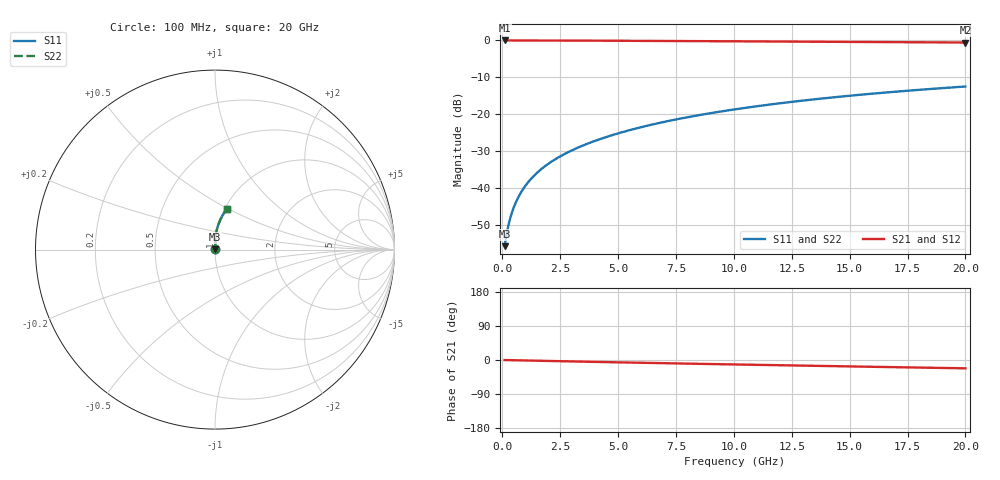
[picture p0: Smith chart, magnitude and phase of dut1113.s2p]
! Touchstone file exported from HFSS 2024.1.0
!  File:  C:/UserFiles/LocalFiles/RDL_TSV_Batchsim/temp_RDL_bottom_1113_1780054545.aedt
!  Generated:  07:38:36 PM May 29, 2026
!  Design:  RDL_bottom
!  Project:  temp_RDL_bottom_1113_1780054545
!  Setup:  Setup1
!  Solution:  Sweep
! Variables:
!  dtsv = 10.80580581um
!  hbump = 3um
!  htsv = 99.71um
!  ldown = 269.4um
!  lrdl = 100um
!  p = 40
!  p1 = 55.26um
!  rhole = 1um
!  t = 450um
!  tdown = 4.23um
!  trdl = 3.915915916um
!  wdown = 22.24um
!  wrdl = 20um
# GHz S MA R 50.000000
! Terminal data exported
! Port[1] = RDL1_T1
! Port[2] = RDL1_T2
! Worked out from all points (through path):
!   200 points, 100 MHz to 20 GHz, reference 50 ohm
!   highest |S21| = -0.01 dB at 100 MHz (marker M1); lowest = -0.6 dB at 20 GHz (marker M2)
!   group delay of S21, straight-line fit = 3.02 ps
!   lowest |S11| = -55.6 dB at 100 MHz (marker M3), VSWR 1.00, Z = 50.1 + j0.116 ohm
!   |S11| at or under -10 dB: start of sweep to end of sweep
!   |S22| runs from -55.6 to -12.5 dB; largest |S21 - S12| = 4.6e-15
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0.1  0.001661 44.0  0.9988 -0.1  0.9988 -0.1  0.001661 44.0
! Gamma 0 0 0 0
! Port Impedance 50 0 50 0
0.2  0.002561 60.8  0.9987 -0.3  0.9987 -0.3  0.002561 60.8
0.3  0.003541 68.9  0.9987 -0.4  0.9987 -0.4  0.003541 68.9
0.4  0.004558 73.6  0.9986 -0.5  0.9986 -0.5  0.004558 73.6
0.5  0.005596 76.6  0.9985 -0.6  0.9985 -0.6  0.005596 76.6
0.6  0.006646 78.6  0.9984 -0.8  0.9984 -0.8  0.006646 78.6
0.8  0.008767 81.3  0.9983 -1.0  0.9983 -1.0  0.008767 81.3
1.1  0.01197 83.5  0.998 -1.4  0.998 -1.4  0.01197 83.5
1.5  0.01628 85.1  0.9976 -1.9  0.9976 -1.9  0.01628 85.1
1.8  0.01952 85.9  0.9972 -2.3  0.9972 -2.3  0.01952 85.9
2.1  0.02277 86.4  0.9967 -2.7  0.9967 -2.7  0.02277 86.4
2.7  0.02934 87.1  0.9956 -3.4  0.9956 -3.4  0.02934 87.1
3.5  0.03825 87.6  0.9937 -4.4  0.9937 -4.4  0.03825 87.6
4.2  0.04621 87.7  0.9919 -5.2  0.9919 -5.2  0.04621 87.7
5  0.05548 87.7  0.9895 -6.2  0.9895 -6.2  0.05548 87.7
5.9  0.06613 87.4  0.9867 -7.2  0.9867 -7.2  0.06613 87.4
6.8  0.07699 86.9  0.9837 -8.3  0.9837 -8.3  0.07699 86.9
8.4  0.09667 85.8  0.9783 -10.0  0.9783 -10.0  0.09667 85.8
10.1  0.1179 84.2  0.9724 -11.9  0.9724 -11.9  0.1179 84.2
13.4  0.1592 80.7  0.961 -15.3  0.961 -15.3  0.1592 80.7
16.7  0.1995 77.0  0.9492 -18.7  0.9492 -18.7  0.1996 77.0
20  0.2384 73.3  0.937 -22.0  0.937 -22.0  0.2384 73.3
